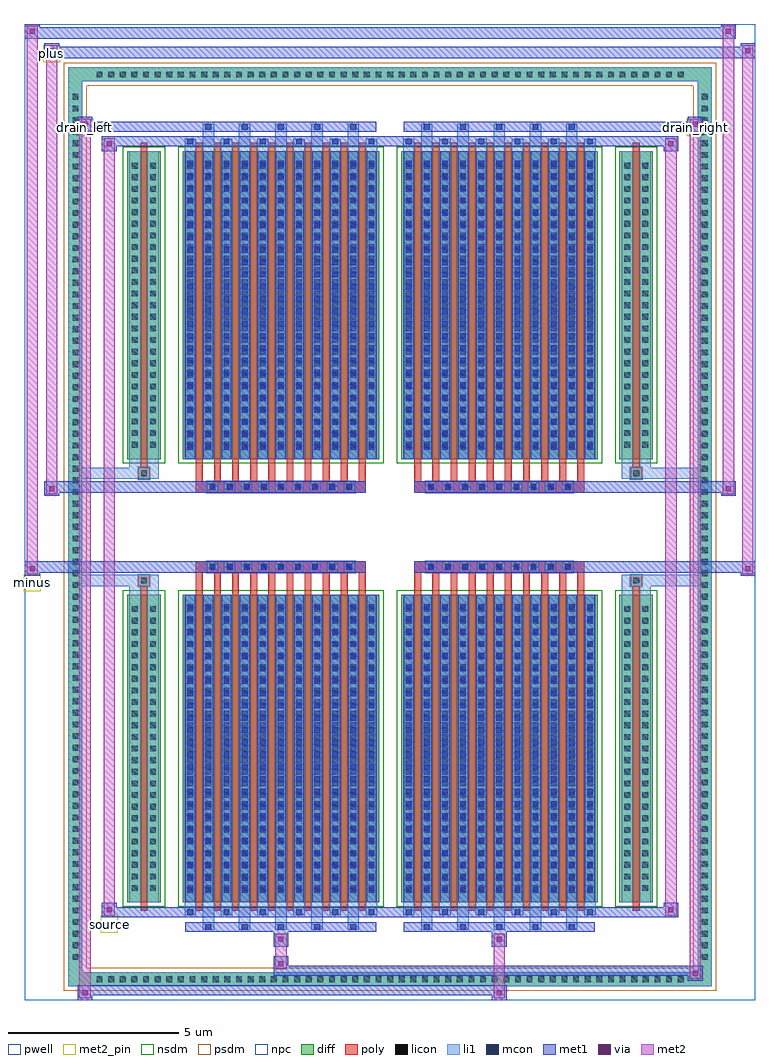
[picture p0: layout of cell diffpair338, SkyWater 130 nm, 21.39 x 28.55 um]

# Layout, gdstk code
import gdstk
lib = gdstk.Library(unit=1e-6, precision=5e-09)
def R(c, l, rs):  # rectangles x0, y0, x1, y1
    for r in rs: c.add(gdstk.rectangle(r[:2], r[2:], *l))
def A(c, l, x, y, w, h, nx, ny, dx, dy):  # array of equal rectangles
    R(c, l, [(x+i*dx, y+j*dy, x+i*dx+w, y+j*dy+h) for i in range(nx) for j in range(ny)])
def P(c, l, *ps):  # polygons
    for p in ps: c.add(gdstk.Polygon(p, *l))
pwell = (64, 44)
diff = (65, 20)
poly = (66, 20)
licon = (66, 44)
li1 = (67, 20)
mcon = (67, 44)
met1 = (68, 20)
via = (68, 44)
met2_pin = (69, 16)
met2 = (69, 20)
nsdm = (93, 44)
psdm = (94, 20)
npc = (95, 20)

diffpair338 = lib.new_cell('diffpair338')
R(diffpair338, pwell, [(-10.68,-13.84,10.68,14.71), (-8,-12.03,-0.01,-0.805), (0.01,-12.03,8,-0.805), (-8,0.805,-0.01,12.03), (0.01,0.805,8,12.03)])
A(diffpair338, diff, -8.705, -13.44, 0.41, 0.41, 51, 2, 0.34, 26.47)
A(diffpair338, diff, -9.41, -12.785, 0.41, 0.41, 1, 75, 0, 0.34)
A(diffpair338, diff, 9, -12.785, 0.41, 0.41, 1, 75, 0, 0.34)
R(diffpair338, diff, [(-8.705,-13.44,8.705,-13.03), (-9.41,-12.785,-9,12.785), (9,-12.785,9.41,12.785), (-7.69,-10.985,-6.71,-1.985), (-6.07,-10.985,-0.32,-1.985), (0.32,-10.985,6.07,-1.985), (6.71,-10.985,7.69,-1.985), (-7.69,1.985,-6.71,10.985), (-6.07,1.985,-0.32,10.985), (0.32,1.985,6.07,10.985), (6.71,1.985,7.69,10.985), (-8.705,13.03,8.705,13.44)])
P(diffpair338, diff, [(9.41,13.44),(-9.41,13.44),(-9.41,-13.03),(-9,-13.03),(-9,13.03),(9,13.03),(9,-13.03),(-9,-13.03),(-9.41,-13.03),(-9.41,-13.44),(9.41,-13.44)])
A(diffpair338, poly, -5.68, -11.235, 0.2, 9.5, 10, 2, 0.53, 12.97)
A(diffpair338, poly, 0.71, -11.235, 0.2, 9.5, 10, 2, 0.53, 12.97)
A(diffpair338, poly, -5.68, -1.735, 0.2, 0.4, 10, 2, 0.53, 3.07)
A(diffpair338, poly, 0.71, -1.735, 0.2, 0.4, 10, 2, 0.53, 3.07)
A(diffpair338, poly, -5.36, -1.335, 0.33, 0.33, 9, 2, 0.5, 2.34)
A(diffpair338, poly, 1.03, -1.335, 0.33, 0.33, 9, 2, 0.5, 2.34)
R(diffpair338, poly, [(-7.3,-11.235,-7.1,-1.735), (7.1,-11.235,7.3,-1.735), (-7.365,-1.735,-7.035,-1.405), (-7.365,-1.735,-7.035,-1.405), (7.035,-1.735,7.365,-1.405), (7.035,-1.735,7.365,-1.405), (-5.68,-1.335,-0.71,-1.005), (0.71,-1.335,5.68,-1.005), (-5.68,1.005,-0.71,1.335), (0.71,1.005,5.68,1.335), (-7.365,1.405,-7.035,1.735), (-7.365,1.405,-7.035,1.735), (7.035,1.405,7.365,1.735), (7.035,1.405,7.365,1.735), (-7.3,1.735,-7.1,11.235), (7.1,1.735,7.3,11.235)])
A(diffpair338, licon, -8.585, -13.32, 0.17, 0.17, 51, 2, 0.34, 26.47)
A(diffpair338, licon, -9.29, -12.665, 0.17, 0.17, 1, 75, 0, 0.34)
A(diffpair338, licon, 9.12, -12.665, 0.17, 0.17, 1, 75, 0, 0.34)
A(diffpair338, licon, -7.55, -10.65, 0.17, 0.17, 1, 25, 0, 0.34)
A(diffpair338, licon, -7.02, -10.65, 0.17, 0.17, 1, 25, 0, 0.34)
A(diffpair338, licon, -5.93, -10.65, 0.17, 0.17, 11, 25, 0.53, 0.34)
A(diffpair338, licon, 0.46, -10.65, 0.17, 0.17, 11, 25, 0.53, 0.34)
A(diffpair338, licon, 6.85, -10.65, 0.17, 0.17, 1, 25, 0, 0.34)
A(diffpair338, licon, 7.38, -10.65, 0.17, 0.17, 1, 25, 0, 0.34)
A(diffpair338, licon, -5.28, -1.255, 0.17, 0.17, 9, 2, 0.5, 2.34)
A(diffpair338, licon, 1.11, -1.255, 0.17, 0.17, 9, 2, 0.5, 2.34)
A(diffpair338, licon, -7.55, 2.32, 0.17, 0.17, 1, 25, 0, 0.34)
A(diffpair338, licon, -7.02, 2.32, 0.17, 0.17, 1, 25, 0, 0.34)
A(diffpair338, licon, -5.93, 2.32, 0.17, 0.17, 11, 25, 0.53, 0.34)
A(diffpair338, licon, 0.46, 2.32, 0.17, 0.17, 11, 25, 0.53, 0.34)
A(diffpair338, licon, 6.85, 2.32, 0.17, 0.17, 1, 25, 0, 0.34)
A(diffpair338, licon, 7.38, 2.32, 0.17, 0.17, 1, 25, 0, 0.34)
R(diffpair338, licon, [(-7.285,-1.655,-7.115,-1.485), (7.115,-1.655,7.285,-1.485), (-7.285,1.485,-7.115,1.655), (7.115,1.485,7.285,1.655)])
A(diffpair338, li1, -8.665, -13.4, 0.33, 0.33, 51, 2, 0.34, 26.47)
A(diffpair338, li1, -9.37, -12.745, 0.33, 0.33, 1, 75, 0, 0.34)
A(diffpair338, li1, 9.04, -12.745, 0.33, 0.33, 1, 75, 0, 0.34)
A(diffpair338, li1, -5.48, -11.79, 0.33, 0.805, 5, 2, 1.06, 22.775)
A(diffpair338, li1, -5.4, -11.79, 0.17, 0.17, 5, 2, 1.06, 23.41)
A(diffpair338, li1, 0.91, -11.79, 0.33, 0.805, 5, 2, 1.06, 22.775)
A(diffpair338, li1, 0.99, -11.79, 0.17, 0.17, 5, 2, 1.06, 23.41)
A(diffpair338, li1, -6.01, -11.36, 0.33, 0.375, 6, 2, 1.06, 22.345)
A(diffpair338, li1, -5.93, -11.36, 0.17, 0.17, 6, 2, 1.06, 22.55)
A(diffpair338, li1, 0.38, -11.36, 0.33, 0.375, 6, 2, 1.06, 22.345)
A(diffpair338, li1, 0.46, -11.36, 0.17, 0.17, 6, 2, 1.06, 22.55)
A(diffpair338, li1, -6.01, -10.985, 0.33, 9, 11, 2, 0.53, 12.97)
A(diffpair338, li1, 0.38, -10.985, 0.33, 9, 11, 2, 0.53, 12.97)
A(diffpair338, li1, -7.63, -10.73, 0.33, 0.33, 1, 25, 0, 0.34)
A(diffpair338, li1, -7.1, -10.73, 0.33, 0.33, 1, 25, 0, 0.34)
A(diffpair338, li1, -6.01, -10.73, 0.33, 0.33, 11, 25, 0.53, 0.34)
A(diffpair338, li1, 0.38, -10.73, 0.33, 0.33, 11, 25, 0.53, 0.34)
A(diffpair338, li1, 6.77, -10.73, 0.33, 0.33, 1, 25, 0, 0.34)
A(diffpair338, li1, 7.3, -10.73, 0.33, 0.33, 1, 25, 0, 0.34)
A(diffpair338, li1, -5.93, -10.71, 0.17, 0.17, 11, 24, 0.53, 0.36)
A(diffpair338, li1, -5.93, -10.71, 0.17, 8.45, 11, 2, 0.53, 12.97)
A(diffpair338, li1, 0.46, -10.71, 0.17, 0.17, 11, 24, 0.53, 0.36)
A(diffpair338, li1, 0.46, -10.71, 0.17, 8.45, 11, 2, 0.53, 12.97)
A(diffpair338, li1, -5.36, -1.335, 0.33, 0.33, 9, 2, 0.5, 2.34)
A(diffpair338, li1, 1.03, -1.335, 0.33, 0.33, 9, 2, 0.5, 2.34)
A(diffpair338, li1, -7.63, 2.24, 0.33, 0.33, 1, 25, 0, 0.34)
A(diffpair338, li1, -7.1, 2.24, 0.33, 0.33, 1, 25, 0, 0.34)
A(diffpair338, li1, -6.01, 2.24, 0.33, 0.33, 11, 25, 0.53, 0.34)
A(diffpair338, li1, 0.38, 2.24, 0.33, 0.33, 11, 25, 0.53, 0.34)
A(diffpair338, li1, 6.77, 2.24, 0.33, 0.33, 1, 25, 0, 0.34)
A(diffpair338, li1, 7.3, 2.24, 0.33, 0.33, 1, 25, 0, 0.34)
A(diffpair338, li1, -5.93, 2.26, 0.17, 0.17, 11, 24, 0.53, 0.36)
A(diffpair338, li1, 0.46, 2.26, 0.17, 0.17, 11, 24, 0.53, 0.36)
R(diffpair338, li1, [(-9.41,-13.44,-9,-13.03), (-9.41,-13.44,-9,-13.03), (-9,-13.44,9,-13.03), (9,-13.44,9.41,-13.03), (9,-13.44,9.41,-13.03), (-9.41,-13.03,-9,13.03), (9,-13.03,9.41,13.03), (-7.63,-10.985,-7.3,-1.985), (-7.1,-10.985,-6.77,-1.985), (6.77,-10.985,7.1,-1.985), (7.3,-10.985,7.63,-1.985), (-7.63,-1.985,-7.3,-1.405), (-7.1,-1.985,-6.77,-1.405), (6.77,-1.985,7.1,-1.405), (7.3,-1.985,7.63,-1.405), (-9.41,-1.735,-7.365,-1.405), (-7.63,-1.735,-7.365,-1.405), (-7.365,-1.735,-7.035,-1.405), (-7.035,-1.735,-6.77,-1.405), (6.77,-1.735,7.035,-1.405), (7.035,-1.735,7.365,-1.405), (7.035,-1.735,9.41,-1.405), (7.365,-1.735,7.63,-1.405), (-9.41,1.405,-7.365,1.735), (-7.63,1.405,-7.365,1.735), (-7.63,1.405,-7.3,1.985), (-7.365,1.405,-7.035,1.735), (-7.1,1.405,-6.77,1.985), (-7.035,1.405,-6.77,1.735), (6.77,1.405,7.035,1.735), (6.77,1.405,7.1,1.985), (7.035,1.405,7.365,1.735), (7.035,1.405,9.41,1.735), (7.3,1.405,7.63,1.985), (7.365,1.405,7.63,1.735), (-7.63,1.985,-7.3,10.985), (-7.1,1.985,-6.77,10.985), (6.77,1.985,7.1,10.985), (7.3,1.985,7.63,10.985), (-9.41,13.03,-9,13.44), (-9.41,13.03,-9,13.44), (-9,13.03,9,13.44), (9,13.03,9.41,13.44), (9,13.03,9.41,13.44)])
A(diffpair338, mcon, -5.4, -11.79, 0.17, 0.17, 5, 2, 1.06, 23.41)
A(diffpair338, mcon, 0.99, -11.79, 0.17, 0.17, 5, 2, 1.06, 23.41)
A(diffpair338, mcon, -5.93, -11.36, 0.17, 0.17, 6, 2, 1.06, 22.55)
A(diffpair338, mcon, 0.46, -11.36, 0.17, 0.17, 6, 2, 1.06, 22.55)
A(diffpair338, mcon, -5.93, -10.71, 0.17, 0.17, 11, 24, 0.53, 0.36)
A(diffpair338, mcon, 0.46, -10.71, 0.17, 0.17, 11, 24, 0.53, 0.36)
A(diffpair338, mcon, -5.28, -1.255, 0.17, 0.17, 9, 2, 0.5, 2.34)
A(diffpair338, mcon, 1.11, -1.255, 0.17, 0.17, 9, 2, 0.5, 2.34)
A(diffpair338, mcon, -5.93, 2.26, 0.17, 0.17, 11, 24, 0.53, 0.36)
A(diffpair338, mcon, 0.46, 2.26, 0.17, 0.17, 11, 24, 0.53, 0.36)
A(diffpair338, met1, -5.46, -11.85, 0.29, 0.29, 5, 2, 1.06, 23.41)
A(diffpair338, met1, 0.93, -11.85, 0.29, 0.29, 5, 2, 1.06, 23.41)
A(diffpair338, met1, -5.99, -11.42, 0.29, 0.29, 6, 2, 1.06, 22.55)
A(diffpair338, met1, 0.4, -11.42, 0.29, 0.29, 6, 2, 1.06, 22.55)
A(diffpair338, met1, -5.99, -10.985, 0.29, 9, 11, 2, 0.53, 12.97)
A(diffpair338, met1, 0.4, -10.985, 0.29, 9, 11, 2, 0.53, 12.97)
A(diffpair338, met1, -5.99, -10.77, 0.29, 0.29, 11, 24, 0.53, 0.36)
A(diffpair338, met1, 0.4, -10.77, 0.29, 0.29, 11, 24, 0.53, 0.36)
A(diffpair338, met1, -5.34, -1.315, 0.29, 0.29, 9, 2, 0.5, 2.34)
A(diffpair338, met1, 1.05, -1.315, 0.29, 0.29, 9, 2, 0.5, 2.34)
A(diffpair338, met1, -5.99, 2.2, 0.29, 0.29, 11, 24, 0.53, 0.36)
A(diffpair338, met1, 0.4, 2.2, 0.29, 0.29, 11, 24, 0.53, 0.36)
R(diffpair338, met1, [(-9.14,-13.84,-8.71,-13.41), (2.98,-13.84,3.41,-13.41), (-9.14,-13.7,3.41,-13.41), (8.71,-13.27,9.14,-12.84), (-3.41,-13.13,9.14,-12.84), (-3.41,-12.99,-2.98,-12.56), (-3.41,-12.28,-2.98,-11.85), (2.98,-12.28,3.41,-11.85), (-5.99,-11.85,-0.4,-11.56), (0.4,-11.85,5.99,-11.56), (-8.43,-11.42,-8,-10.99), (-8.43,-11.42,-5.99,-11.13), (-5.99,-11.42,-0.4,-11.13), (-0.4,-11.42,0.4,-11.13), (0.4,-11.42,5.99,-11.13), (5.99,-11.42,8.43,-11.13), (8,-11.42,8.43,-10.99), (-10.68,-1.435,-10.25,-1.005), (10.25,-1.435,10.68,-1.005), (-10.68,-1.335,-0.71,-1.005), (-5.68,-1.335,-0.71,-1.005), (0.71,-1.335,5.68,-1.005), (0.71,-1.335,10.68,-1.005), (-10.11,0.905,-9.68,1.335), (9.68,0.905,10.11,1.335), (-10.11,1.005,-5.68,1.335), (-5.68,1.005,-0.71,1.335), (0.71,1.005,5.68,1.335), (5.68,1.005,10.11,1.335), (-8.43,10.99,-8,11.42), (8,10.99,8.43,11.42), (-8.43,11.13,-5.99,11.42), (-5.99,11.13,-0.4,11.42), (-0.4,11.13,0.4,11.42), (0.4,11.13,5.99,11.42), (5.99,11.13,8.43,11.42), (-9.14,11.56,-8.71,11.99), (-9.14,11.56,-5.99,11.85), (-5.99,11.56,-0.4,11.85), (0.4,11.56,5.99,11.85), (5.99,11.56,9.14,11.85), (8.71,11.56,9.14,11.99), (-10.11,13.71,-9.68,14.14), (-10.11,13.71,-8,14.04), (-8,13.71,8,14.04), (8,13.71,10.68,14.04), (10.25,13.71,10.68,14.14), (-10.68,14.28,-10.25,14.71), (-10.68,14.28,-8,14.61), (-8,14.28,8,14.61), (8,14.28,10.11,14.61), (9.68,14.28,10.11,14.71)])
R(diffpair338, via, [(-9,-13.7,-8.85,-13.55), (3.12,-13.7,3.27,-13.55), (8.85,-13.13,9,-12.98), (-3.27,-12.85,-3.12,-12.7), (-3.27,-12.14,-3.12,-11.99), (3.12,-12.14,3.27,-11.99), (-8.29,-11.28,-8.14,-11.13), (8.14,-11.28,8.29,-11.13), (-10.54,-1.295,-10.39,-1.145), (10.39,-1.295,10.54,-1.145), (-9.97,1.045,-9.82,1.195), (9.82,1.045,9.97,1.195), (-8.29,11.13,-8.14,11.28), (8.14,11.13,8.29,11.28), (-9,11.7,-8.85,11.85), (8.85,11.7,9,11.85), (-9.97,13.85,-9.82,14), (10.39,13.85,10.54,14), (-10.54,14.42,-10.39,14.57), (9.82,14.42,9.97,14.57)])
R(diffpair338, met2_pin, [(-8.465,-11.87,-7.965,-11.37), (-10.715,-1.885,-10.215,-1.385), (-9.175,11.44,-8.675,11.94), (8.675,11.44,9.175,11.94), (-10.145,13.59,-9.645,14.09)])
R(diffpair338, met2, [(-9.09,-13.79,-8.76,-13.46), (-9.09,-13.79,-8.76,11.94), (3.03,-13.79,3.36,-13.46), (3.03,-13.46,3.36,-12.23), (8.76,-13.22,9.09,-12.89), (8.76,-13.22,9.09,11.94), (-3.36,-12.94,-3.03,-12.61), (-3.36,-12.61,-3.03,-12.23), (-3.36,-12.23,-3.03,-11.9), (3.03,-12.23,3.36,-11.9), (-8.38,-11.37,-8.05,-11.04), (-8.38,-11.37,-8.05,11.37), (8.05,-11.37,8.38,-11.04), (8.05,-11.37,8.38,11.37), (-10.63,-1.385,-10.3,-1.055), (-10.63,-1.385,-10.3,14.66), (10.3,-1.385,10.63,-1.055), (10.3,-1.385,10.63,14.09), (-10.06,0.955,-9.73,1.285), (-10.06,0.955,-9.73,14.09), (9.73,0.955,10.06,1.285), (9.73,0.955,10.06,14.66), (-8.38,11.04,-8.05,11.37), (8.05,11.04,8.38,11.37), (-9.09,11.61,-8.76,11.94), (8.76,11.61,9.09,11.94), (-10.06,13.76,-9.73,14.09), (10.3,13.76,10.63,14.09), (-10.63,14.33,-10.3,14.66), (9.73,14.33,10.06,14.66)])
P(diffpair338, met2, [(10.63,-1.385),(10.63,-1.385),(10.63,-1.055),(10.63,-1.055)],
  [(10.63,13.76),(10.63,13.76),(10.63,14.09),(10.63,14.09)],
  [(-10.3,-1.385),(-10.3,-1.385),(-10.3,-1.055),(-10.3,-1.055)],
  [(-10.3,14.33),(-10.3,14.33),(-10.3,14.66),(-10.3,14.66)],
  [(10.06,0.955),(10.06,0.955),(10.06,1.285),(10.06,1.285)],
  [(10.06,14.33),(10.06,14.33),(10.06,14.66),(10.06,14.66)],
  [(-9.73,0.955),(-9.73,0.955),(-9.73,1.285),(-9.73,1.285)],
  [(-9.73,13.76),(-9.73,13.76),(-9.73,14.09),(-9.73,14.09)],
  [(-8.76,-13.79),(-8.76,-13.79),(-8.76,-13.46),(-8.76,-13.46)],
  [(-8.76,11.61),(-8.76,11.61),(-8.76,11.94),(-8.76,11.94)],
  [(9.09,-13.22),(9.09,-13.22),(9.09,-12.89),(9.09,-12.89)],
  [(9.09,11.61),(9.09,11.61),(9.09,11.94),(9.09,11.94)],
  [(-8.05,-11.37),(-8.05,-11.37),(-8.05,-11.04),(-8.05,-11.04)],
  [(-8.05,11.04),(-8.05,11.04),(-8.05,11.37),(-8.05,11.37)],
  [(8.38,-11.37),(8.38,-11.37),(8.38,-11.04),(8.38,-11.04)],
  [(8.38,11.04),(8.38,11.04),(8.38,11.37),(8.38,11.37)])
R(diffpair338, nsdm, [(-7.82,-11.115,-6.58,-1.855), (-6.2,-11.115,-0.19,-1.855), (0.19,-11.115,6.2,-1.855), (6.58,-11.115,7.82,-1.855), (-7.82,1.855,-6.58,11.115), (-6.2,1.855,-0.19,11.115), (0.19,1.855,6.2,11.115), (6.58,1.855,7.82,11.115)])
P(diffpair338, psdm, [(9.54,13.57),(-9.54,13.57),(-9.54,-12.9),(-8.87,-12.9),(-8.87,12.9),(8.87,12.9),(8.87,-12.9),(-8.87,-12.9),(-9.54,-12.9),(-9.54,-13.57),(9.54,-13.57)])
A(diffpair338, npc, -5.38, -1.355, 0.37, 0.37, 9, 2, 0.5, 2.34)
A(diffpair338, npc, 1.01, -1.355, 0.37, 0.37, 9, 2, 0.5, 2.34)
R(diffpair338, npc, [(-7.385,-1.755,-7.015,-1.385), (7.015,-1.755,7.385,-1.385), (-5.38,-1.355,-4.51,-0.985), (-5.38,-1.355,-4.51,-0.985), (-4.88,-1.355,-4.01,-0.985), (-4.88,-1.355,-4.01,-0.985), (-4.38,-1.355,-3.51,-0.985), (-4.38,-1.355,-3.51,-0.985), (-3.88,-1.355,-3.01,-0.985), (-3.88,-1.355,-3.01,-0.985), (-3.38,-1.355,-2.51,-0.985), (-3.38,-1.355,-2.51,-0.985), (-2.88,-1.355,-2.01,-0.985), (-2.88,-1.355,-2.01,-0.985), (-2.38,-1.355,-1.51,-0.985), (-2.38,-1.355,-1.51,-0.985), (-1.88,-1.355,-1.01,-0.985), (-1.88,-1.355,-1.01,-0.985), (1.01,-1.355,1.88,-0.985), (1.01,-1.355,1.88,-0.985), (1.51,-1.355,2.38,-0.985), (1.51,-1.355,2.38,-0.985), (2.01,-1.355,2.88,-0.985), (2.01,-1.355,2.88,-0.985), (2.51,-1.355,3.38,-0.985), (2.51,-1.355,3.38,-0.985), (3.01,-1.355,3.88,-0.985), (3.01,-1.355,3.88,-0.985), (3.51,-1.355,4.38,-0.985), (3.51,-1.355,4.38,-0.985), (4.01,-1.355,4.88,-0.985), (4.01,-1.355,4.88,-0.985), (4.51,-1.355,5.38,-0.985), (4.51,-1.355,5.38,-0.985), (-5.38,0.985,-4.51,1.355), (-5.38,0.985,-4.51,1.355), (-4.88,0.985,-4.01,1.355), (-4.88,0.985,-4.01,1.355), (-4.38,0.985,-3.51,1.355), (-4.38,0.985,-3.51,1.355), (-3.88,0.985,-3.01,1.355), (-3.88,0.985,-3.01,1.355), (-3.38,0.985,-2.51,1.355), (-3.38,0.985,-2.51,1.355), (-2.88,0.985,-2.01,1.355), (-2.88,0.985,-2.01,1.355), (-2.38,0.985,-1.51,1.355), (-2.38,0.985,-1.51,1.355), (-1.88,0.985,-1.01,1.355), (-1.88,0.985,-1.01,1.355), (1.01,0.985,1.88,1.355), (1.01,0.985,1.88,1.355), (1.51,0.985,2.38,1.355), (1.51,0.985,2.38,1.355), (2.01,0.985,2.88,1.355), (2.01,0.985,2.88,1.355), (2.51,0.985,3.38,1.355), (2.51,0.985,3.38,1.355), (3.01,0.985,3.88,1.355), (3.01,0.985,3.88,1.355), (3.51,0.985,4.38,1.355), (3.51,0.985,4.38,1.355), (4.01,0.985,4.88,1.355), (4.01,0.985,4.88,1.355), (4.51,0.985,5.38,1.355), (4.51,0.985,5.38,1.355), (-7.385,1.385,-7.015,1.755), (7.015,1.385,7.385,1.755)])
diffpair338.add(gdstk.Label('minus', (-10.465,-1.635), layer=69, texttype=5))
diffpair338.add(gdstk.Label('drain_right', (8.925,11.69), layer=69, texttype=5))
diffpair338.add(gdstk.Label('drain_left', (-8.925,11.69), layer=69, texttype=5))
diffpair338.add(gdstk.Label('source', (-8.215,-11.62), layer=69, texttype=5))
diffpair338.add(gdstk.Label('plus', (-9.895,13.84), layer=69, texttype=5))

lib.write_gds('diffpair338.gds')
